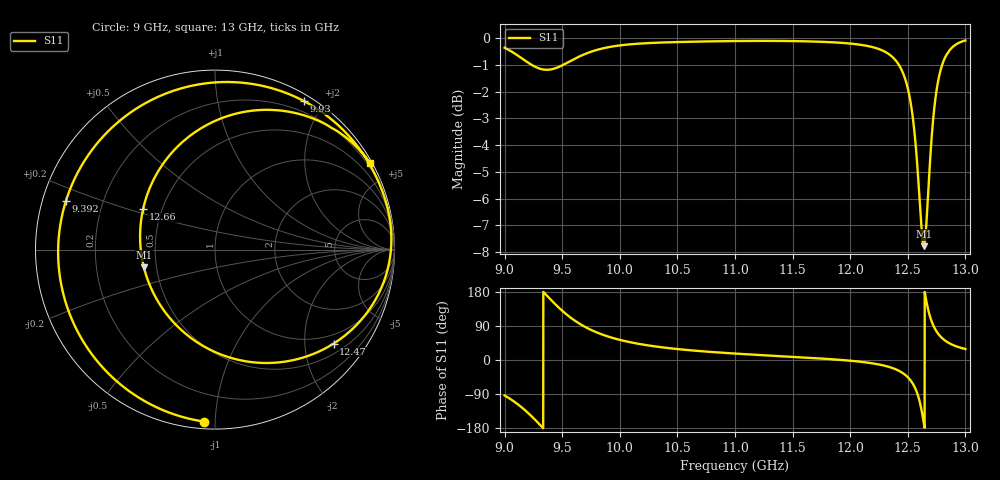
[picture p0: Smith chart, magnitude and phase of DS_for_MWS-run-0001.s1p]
! TOUCHSTONE file generated by CST DESIGN STUDIO
! Date and time: Tue Feb  4 15:44:51 2025
! Project name: C:\Work\MatlabApps\UnitCellOptimizationMatlab\CST\unitcell.cst
! Tree item: Tasks\Sweep1\SPara1\S-Parameters
! Header version: 2024
! Port assignment regex: !\s*Touchstone port\s*([0-9]+)\s*=\s*(CST MWS port|CST DES external port|CST DES block port)\s*(.+)\s* \(\"(.*)\"\)(\s*mode\s*([0-9]+))?.*
! Touchstone port assignment:
! Touchstone port 1 = CST DES external port 1 ("")
# GHz S MA R 50
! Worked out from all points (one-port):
!   4001 points, 9 GHz to 13 GHz, reference 50 ohm
!   lowest |S11| = -7.8 dB at 12.64 GHz (marker M1), VSWR 2.38, Z = 21.3 - j5.06 ohm
!   |S11| at or under -10 dB: nowhere
!   S11 on the Smith chart (normalised r, x): 9 GHz: 0.04, -0.94; 9.392 GHz: 0.07, +0.16; 9.93 GHz: 0.07, +1.77; 12.47 GHz: 0.74, -2.69; 12.66 GHz: 0.39, +0.22; 13 GHz: 0.08, +3.86
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9  0.96 -93.7
9.094  0.9345 -112.2
9.18  0.9076 -133.2
9.292  0.8792 -166.2
9.392  0.8737 161.9
9.5  0.8899 130.0
9.58  0.9086 110.2
9.668  0.9285 92.6
9.794  0.9501 73.5
9.93  0.9647 59.0
10  0.9697 53.1
10.5  0.9838 28.9
11  0.9881 17.0
11.5  0.9879 8.3
12  0.9774 -1.9
12.32  0.9387 -16.8
12.474  0.8432 -38.4
12.5  0.8058 -45.4
12.547  0.7008 -64.3
12.58  0.5879 -86.2
12.609  0.473 -117.1
12.639  0.4083 -166.0
12.664  0.4595 150.7
12.707  0.652 101.9
12.752  0.8051 74.3
12.798  0.8914 57.7
12.849  0.9386 46.2
13  0.9906 29.0
